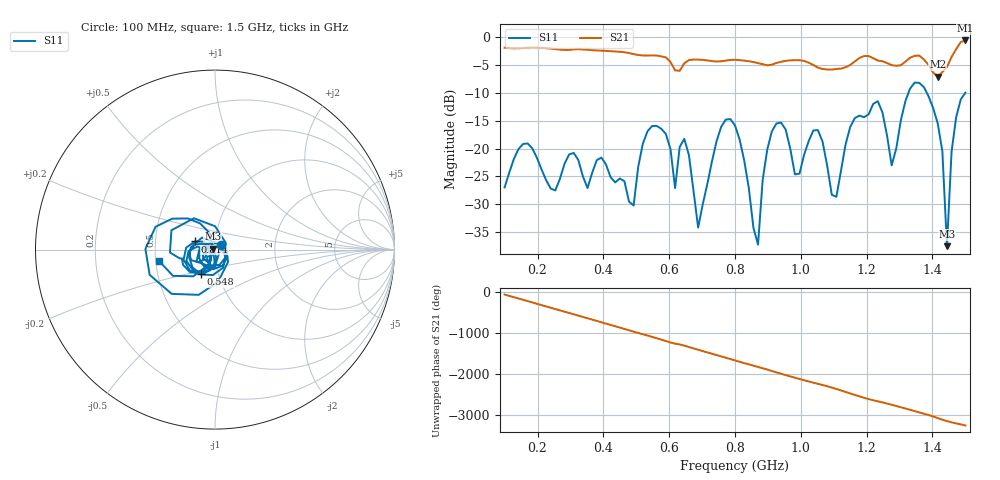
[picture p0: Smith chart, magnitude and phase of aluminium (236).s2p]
! NanoVNA-App
! Date: 2025-09-25 14:57:07
! Start: 100MHz Stop: 1,5GHz Points: 101
! S-Parameter data: F S11 S21 S12 S22
# Hz S RI R 50
!  Frequency  S11_Real  S11_Imag  S21_Real  S21_Imag  S12_Real  S12_Imag  S22_Real  S22_Imag
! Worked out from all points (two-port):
!   101 points, 100 MHz to 1.5 GHz, reference 50 ohm
!   highest |S21| = -0.63 dB at 1.5 GHz (marker M1); lowest = -7.1 dB at 1.416 GHz (marker M2)
!   |S21| within 3 dB of the highest: start of sweep to 587.1 MHz; 1.458 GHz to end of sweep (the widest 2 of 4)
!   lowest |S11| = -37.5 dB at 1.444 GHz (marker M3), VSWR 1.03, Z = 48.8 + j0.527 ohm
!   |S11| at or under -10 dB: start of sweep to 1.327 GHz; 1.383 GHz to 1.5 GHz (117.3 MHz wide, 8.14 % of centre)
!   S12 and S22 are empty: the file has one direction only
!   S11 on the Smith chart (normalised r, x): 100 MHz: 1.07, +0.06; 548 MHz: 0.82, -0.23; 814 MHz: 0.80, +0.07; 1.5 GHz: 0.52, -0.08
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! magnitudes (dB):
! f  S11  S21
! 100 MHz  -27.0  -1.9
! 338 MHz  -25.0  -2.2
! 492 MHz  -30.2  -3.1
! 548 MHz  -16.0  -3.3
! 576 MHz  -16.5  -3.5
! 618 MHz  -27.1  -6.0
! 646 MHz  -18.3  -4.7
! 688 MHz  -34.2  -4.1
! 800 MHz  -15.9  -4.1
! 814 MHz  -18.4  -4.2
! 870 MHz  -37.2  -4.7
! 912 MHz  -16.9  -5.0
! 982 MHz  -24.6  -4.2
! 1.038 GHz  -16.7  -5.0
! 1.108 GHz  -28.7  -5.7
! 1.234 GHz  -11.5  -4.2
! 1.276 GHz  -23.0  -5.1
! 1.346 GHz  -8.2  -3.4
! 1.416 GHz  -15.5  -7.1
! 1.444 GHz  -37.5  -5.4
! 1.458 GHz  -20.6  -3.6
! 1.5 GHz  -10.0  -0.6
